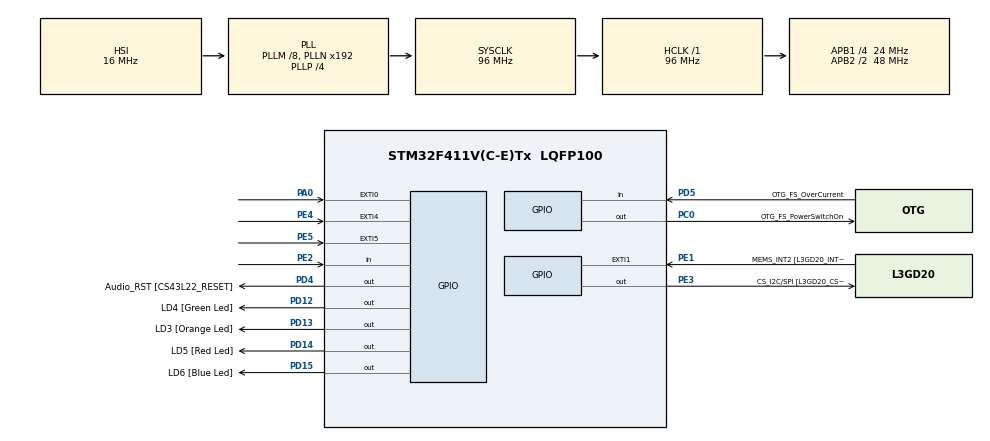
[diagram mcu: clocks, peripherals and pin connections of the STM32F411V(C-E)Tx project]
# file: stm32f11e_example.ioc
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FREERTOS.INCLUDE_vTaskDelayUntil=1
FREERTOS.Tasks01=defaultTask,0,128,StartDefaultTask,Default,NULL
Mcu.Family=STM32F4
Mcu.Name=STM32F411V(C-E)Tx
Mcu.Package=LQFP100
NVIC.PriorityGroup=NVIC_PRIORITYGROUP_4
NVIC.TIM1_UP_TIM10_IRQn=true\:0\:0\:false\:false\:true\:false\:false
NVIC.TimeBase=TIM1_UP_TIM10_IRQn
NVIC.TimeBaseIP=TIM1
PA0-WKUP.GPIO_ModeDefaultEXTI=GPIO_MODE_EVT_RISING
PA0-WKUP.Signal=GPXTI0
PA10.GPIO_Label=OTG_FS_ID
PA10.Signal=USB_OTG_FS_ID
PA11.GPIO_Label=OTG_FS_DM
PA11.Signal=USB_OTG_FS_DM
PA12.GPIO_Label=OTG_FS_DP
PA12.Signal=USB_OTG_FS_DP
PA13.GPIO_Label=SWDIO
PA13.Signal=SYS_JTMS-SWDIO
PA14.GPIO_Label=SWCLK
PA14.Signal=SYS_JTCK-SWCLK
PA4.GPIO_Label=I2S3_WS [CS43L22_LRCK]
PA4.GPIO_Mode=GPIO_MODE_AF_PP
PA4.GPIO_PuPd=GPIO_NOPULL
PA4.GPIO_Speed=GPIO_SPEED_FREQ_LOW
PA4.Signal=I2S3_WS
PA5.GPIO_Label=SPI1_SCK [L3GD20_SC/SPC]
PA5.Signal=SPI1_SCK
PA6.GPIO_Label=SPI1_MISO [L3GD20_AS0/SDO]
PA6.Signal=SPI1_MISO
PA7.GPIO_Label=SPI1_MOSI [L3GD20_SDA/SDI/SDO]
PA7.Signal=SPI1_MOSI
PA9.GPIO_Label=VBUS_FS
PA9.Signal=USB_OTG_FS_VBUS
PB10.GPIO_Label=CLK_IN [MP45DT02_CLK]
PB10.Signal=I2S2_CK
PB12.Signal=I2S2_WS
PB3.GPIO_Label=SWO
PB3.Signal=SYS_JTDO-SWO
PB6.GPIO_Label=Audio_SCL [CS43L22_SCL]
PB6.GPIO_Mode=GPIO_MODE_AF_OD
PB6.GPIO_PuPd=GPIO_NOPULL
PB6.GPIO_Speed=GPIO_SPEED_FREQ_LOW
PB6.Signal=I2C1_SCL
PB9.GPIO_Label=Audio_SDA [CS43L22_SDA]
PB9.GPIO_Mode=GPIO_MODE_AF_OD
PB9.GPIO_PuPd=GPIO_NOPULL
PB9.GPIO_Speed=GPIO_SPEED_FREQ_LOW
PB9.Signal=I2C1_SDA
PC0.GPIO_Label=OTG_FS_PowerSwitchOn
PC0.PinState=GPIO_PIN_SET
PC0.Signal=GPIO_Output
PC10.GPIO_Label=I2S3_SCK [CS43L22_SCLK]
PC10.GPIO_Mode=GPIO_MODE_AF_PP
PC10.GPIO_PuPd=GPIO_NOPULL
PC10.GPIO_Speed=GPIO_SPEED_FREQ_LOW
PC10.Signal=I2S3_CK
PC12.GPIO_Label=I2S3_SD [CS43L22_SDIN]
PC12.GPIO_Mode=GPIO_MODE_AF_PP
PC12.GPIO_PuPd=GPIO_NOPULL
PC12.GPIO_Speed=GPIO_SPEED_FREQ_LOW
PC12.Signal=I2S3_SD
PC14-OSC32_IN.GPIO_Label=PC14-OSC32_IN
PC14-OSC32_IN.Signal=RCC_OSC32_IN
PC15-OSC32_OUT.GPIO_Label=PC15-OSC32_OUT
PC15-OSC32_OUT.Signal=RCC_OSC32_OUT
PC3.GPIO_Label=PDM_OUT [MP45DT02_DOUT]
PC3.Signal=I2S2_SD
PC7.GPIO_Label=I2S3_MCK [CS43L22_MCLK]
PC7.GPIO_Mode=GPIO_MODE_AF_PP
PC7.GPIO_PuPd=GPIO_NOPULL
PC7.GPIO_Speed=GPIO_SPEED_FREQ_LOW
PC7.Signal=I2S3_MCK
PD12.GPIO_Label=LD4 [Green Led]
PD12.GPIO_PuPd=GPIO_NOPULL
PD12.GPIO_Speed=GPIO_SPEED_FREQ_LOW
PD12.Signal=GPIO_Output
PD13.GPIO_Label=LD3 [Orange Led]
PD13.GPIO_PuPd=GPIO_NOPULL
PD13.GPIO_Speed=GPIO_SPEED_FREQ_LOW
PD13.Signal=GPIO_Output
PD14.GPIO_Label=LD5 [Red Led]
PD14.GPIO_PuPd=GPIO_NOPULL
PD14.GPIO_Speed=GPIO_SPEED_FREQ_LOW
PD14.Signal=GPIO_Output
PD15.GPIO_Label=LD6 [Blue Led]
PD15.GPIO_PuPd=GPIO_NOPULL
PD15.GPIO_Speed=GPIO_SPEED_FREQ_LOW
PD15.Signal=GPIO_Output
PD4.GPIO_Label=Audio_RST [CS43L22_RESET]
PD4.Signal=GPIO_Output
PD5.GPIO_Label=OTG_FS_OverCurrent
PD5.Signal=GPIO_Input
PE1.GPIO_Label=MEMS_INT2 [L3GD20_INT2]
PE1.GPIO_ModeDefaultEXTI=GPIO_MODE_EVT_RISING
PE1.Signal=GPXTI1
PE2.Signal=GPIO_Input
PE3.GPIO_Label=CS_I2C/SPI [L3GD20_CS_I2C/SPI]
PE3.Signal=GPIO_Output
PE4.GPIO_ModeDefaultEXTI=GPIO_MODE_EVT_RISING
PE4.Signal=GPXTI4
PE5.GPIO_ModeDefaultEXTI=GPIO_MODE_EVT_RISING
PE5.Signal=GPXTI5
PH0\ -\ OSC_IN.GPIO_Label=PH0-OSC_IN
PH0\ -\ OSC_IN.Signal=RCC_OSC_IN
PH1\ -\ OSC_OUT.GPIO_Label=PH1-OSC_OUT
PH1\ -\ OSC_OUT.Signal=RCC_OSC_OUT
ProjectManager.HeapSize=0x200
ProjectManager.StackSize=0x400
ProjectManager.TargetToolchain=SW4STM32
RCC.48MHZClocksFreq_Value=48000000
RCC.AHBFreq_Value=96000000
RCC.APB1CLKDivider=RCC_HCLK_DIV4
RCC.APB1Freq_Value=24000000
RCC.APB1TimFreq_Value=48000000
RCC.APB2CLKDivider=RCC_HCLK_DIV2
RCC.APB2Freq_Value=48000000
RCC.APB2TimFreq_Value=96000000
RCC.CortexFreq_Value=96000000
RCC.HCLKFreq_Value=96000000
RCC.HSE_VALUE=8000000
RCC.HSI_VALUE=16000000
RCC.LSE_VALUE=32768
RCC.PLLI2SM=5
RCC.PLLI2SN=200
RCC.PLLM=8
RCC.PLLP=RCC_PLLP_DIV4
RCC.PLLQ=8
RCC.SYSCLKFreq_VALUE=96000000
RCC.SYSCLKSource=RCC_SYSCLKSOURCE_PLLCLK
RCC.VCOOutputFreq_Value=384000000
VP_FREERTOS_VS_ENABLE.Mode=Enabled
VP_SYS_VS_tim1.Mode=TIM1
board=STM32F411E-DISCO

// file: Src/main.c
/**
  ******************************************************************************
  * File Name          : main.c
  * Description        : Main program body
  ******************************************************************************
  * This notice applies to any and all portions of this file
  * that are not between comment pairs USER CODE BEGIN and
  * USER CODE END. Other portions of this file, whether
  * inserted by the user or by software development tools
  * are owned by their respective copyright owners.
  *
  * Copyright (c) 2018 STMicroelectronics International N.V.
  * All rights reserved.
  *
  * Redistribution and use in source and binary forms, with or without
  * modification, are permitted, provided that the following conditions are met:
  *
  * 1. Redistribution of source code must retain the above copyright notice,
  *    this list of conditions and the following disclaimer.
  * 2. Redistributions in binary form must reproduce the above copyright notice,
  *    this list of conditions and the following disclaimer in the documentation
  *    and/or other materials provided with the distribution.
  * 3. Neither the name of STMicroelectronics nor the names of other
  *    contributors to this software may be used to endorse or promote products
  *    derived from this software without specific written permission.
  * 4. This software, including modifications and/or derivative works of this
  *    software, must execute solely and exclusively on microcontroller or
  *    microprocessor devices manufactured by or for STMicroelectronics.
  * 5. Redistribution and use of this software other than as permitted under
  *    this license is void and will automatically terminate your rights under
  *    this license.
  *
  * THIS SOFTWARE IS PROVIDED BY STMICROELECTRONICS AND CONTRIBUTORS "AS IS"
  * AND ANY EXPRESS, IMPLIED OR STATUTORY WARRANTIES, INCLUDING, BUT NOT
  * LIMITED TO, THE IMPLIED WARRANTIES OF MERCHANTABILITY, FITNESS FOR A
  * PARTICULAR PURPOSE AND NON-INFRINGEMENT OF THIRD PARTY INTELLECTUAL PROPERTY
  * RIGHTS ARE DISCLAIMED TO THE FULLEST EXTENT PERMITTED BY LAW. IN NO EVENT
  * SHALL STMICROELECTRONICS OR CONTRIBUTORS BE LIABLE FOR ANY DIRECT, INDIRECT,
  * INCIDENTAL, SPECIAL, EXEMPLARY, OR CONSEQUENTIAL DAMAGES (INCLUDING, BUT NOT
  * LIMITED TO, PROCUREMENT OF SUBSTITUTE GOODS OR SERVICES; LOSS OF USE, DATA,
  * OR PROFITS; OR BUSINESS INTERRUPTION) HOWEVER CAUSED AND ON ANY THEORY OF
  * LIABILITY, WHETHER IN CONTRACT, STRICT LIABILITY, OR TORT (INCLUDING
  * NEGLIGENCE OR OTHERWISE) ARISING IN ANY WAY OUT OF THE USE OF THIS SOFTWARE,
  * EVEN IF ADVISED OF THE POSSIBILITY OF SUCH DAMAGE.
  *
  ******************************************************************************
  */

#include "main.h"
#include "stm32f4xx_hal.h"
#include "cmsis_os.h"

osThreadId defaultTaskHandle;

/* USER CODE BEGIN PV */
/* Private variables ---------------------------------------------------------*/
osThreadId blinkLightsTaskHandle;

/* USER CODE END PV */

void SystemClock_Config(void);
static void MX_GPIO_Init(void);
void StartDefaultTask(void const * argument);

/* USER CODE BEGIN PFP */
/* Private function prototypes -----------------------------------------------*/
void blinkLightsTask(void const* argument);

/* USER CODE END PFP */

int main(void)
{

  /* MCU Configuration----------------------------------------------------------*/

  /* Reset of all peripherals, Initializes the Flash interface and the Systick. */
  HAL_Init();

  /* Configure the system clock */
  SystemClock_Config();

  /* Initialize all configured peripherals */
  MX_GPIO_Init();

  /* Create the thread(s) */
  /* definition and creation of defaultTask */
  osThreadDef(defaultTask, StartDefaultTask, osPriorityNormal, 0, 128);
  defaultTaskHandle = osThreadCreate(osThread(defaultTask), NULL);

  /* USER CODE BEGIN RTOS_THREADS */
    osThreadDef(blinkLightsThread, blinkLightsTask, osPriorityNormal, 1, configMINIMAL_STACK_SIZE);
    blinkLightsTaskHandle = osThreadCreate(osThread(blinkLightsThread), NULL);
  /* USER CODE END RTOS_THREADS */

  /* Start scheduler */
  osKernelStart();

  /* We should never get here as control is now taken by the scheduler */

  /* Infinite loop */
    while (1)
    {

    }

}

/** System Clock Configuration
*/
void SystemClock_Config(void)
{

  RCC_OscInitTypeDef RCC_OscInitStruct;
  RCC_ClkInitTypeDef RCC_ClkInitStruct;

    /**Configure the main internal regulator output voltage
    */
  __HAL_RCC_PWR_CLK_ENABLE();

  __HAL_PWR_VOLTAGESCALING_CONFIG(PWR_REGULATOR_VOLTAGE_SCALE1);

    /**Initializes the CPU, AHB and APB busses clocks
    */
  RCC_OscInitStruct.OscillatorType = RCC_OSCILLATORTYPE_HSI;
  RCC_OscInitStruct.HSIState = RCC_HSI_ON;
  RCC_OscInitStruct.HSICalibrationValue = 16;
  RCC_OscInitStruct.PLL.PLLState = RCC_PLL_ON;
  RCC_OscInitStruct.PLL.PLLSource = RCC_PLLSOURCE_HSI;
  RCC_OscInitStruct.PLL.PLLM = 8;
  RCC_OscInitStruct.PLL.PLLN = 192;
  RCC_OscInitStruct.PLL.PLLP = RCC_PLLP_DIV4;
  RCC_OscInitStruct.PLL.PLLQ = 8;
  if (HAL_RCC_OscConfig(&RCC_OscInitStruct) != HAL_OK)
  {
    _Error_Handler(__FILE__, __LINE__);
  }

    /**Initializes the CPU, AHB and APB busses clocks
    */
  RCC_ClkInitStruct.ClockType = RCC_CLOCKTYPE_HCLK|RCC_CLOCKTYPE_SYSCLK
                              |RCC_CLOCKTYPE_PCLK1|RCC_CLOCKTYPE_PCLK2;
  RCC_ClkInitStruct.SYSCLKSource = RCC_SYSCLKSOURCE_PLLCLK;
  RCC_ClkInitStruct.AHBCLKDivider = RCC_SYSCLK_DIV1;
  RCC_ClkInitStruct.APB1CLKDivider = RCC_HCLK_DIV4;
  RCC_ClkInitStruct.APB2CLKDivider = RCC_HCLK_DIV2;

  if (HAL_RCC_ClockConfig(&RCC_ClkInitStruct, FLASH_LATENCY_3) != HAL_OK)
  {
    _Error_Handler(__FILE__, __LINE__);
  }

    /**Configure the Systick interrupt time
    */
  HAL_SYSTICK_Config(HAL_RCC_GetHCLKFreq()/1000);

    /**Configure the Systick
    */
  HAL_SYSTICK_CLKSourceConfig(SYSTICK_CLKSOURCE_HCLK);

  /* SysTick_IRQn interrupt configuration */
  HAL_NVIC_SetPriority(SysTick_IRQn, 15, 0);
}

/** Configure pins as
        * Analog
        * Input
        * Output
        * EVENT_OUT
        * EXTI
     PC3   ------> I2S2_SD
     PA4   ------> I2S3_WS
     PA5   ------> SPI1_SCK
     PA6   ------> SPI1_MISO
     PA7   ------> SPI1_MOSI
     PB10   ------> I2S2_CK
     PB12   ------> I2S2_WS
     PC7   ------> I2S3_MCK
     PA9   ------> USB_OTG_FS_VBUS
     PA10   ------> USB_OTG_FS_ID
     PA11   ------> USB_OTG_FS_DM
     PA12   ------> USB_OTG_FS_DP
     PC10   ------> I2S3_CK
     PC12   ------> I2S3_SD
     PB6   ------> I2C1_SCL
     PB9   ------> I2C1_SDA
*/
static void MX_GPIO_Init(void)
{

  GPIO_InitTypeDef GPIO_InitStruct;

  /* GPIO Ports Clock Enable */
  __HAL_RCC_GPIOE_CLK_ENABLE();
  __HAL_RCC_GPIOC_CLK_ENABLE();
  __HAL_RCC_GPIOH_CLK_ENABLE();
  __HAL_RCC_GPIOA_CLK_ENABLE();
  __HAL_RCC_GPIOB_CLK_ENABLE();
  __HAL_RCC_GPIOD_CLK_ENABLE();

  /*Configure GPIO pin Output Level */
  HAL_GPIO_WritePin(CS_I2C_SPI_GPIO_Port, CS_I2C_SPI_Pin, GPIO_PIN_RESET);

  /*Configure GPIO pin Output Level */
  HAL_GPIO_WritePin(OTG_FS_PowerSwitchOn_GPIO_Port, OTG_FS_PowerSwitchOn_Pin, GPIO_PIN_SET);

  /*Configure GPIO pin Output Level */
  HAL_GPIO_WritePin(GPIOD, LD4_Pin|LD3_Pin|LD5_Pin|LD6_Pin
                          |Audio_RST_Pin, GPIO_PIN_RESET);

  /*Configure GPIO pin : PE2 */
  GPIO_InitStruct.Pin = GPIO_PIN_2;
  GPIO_InitStruct.Mode = GPIO_MODE_INPUT;
  GPIO_InitStruct.Pull = GPIO_NOPULL;
  HAL_GPIO_Init(GPIOE, &GPIO_InitStruct);

  /*Configure GPIO pin : CS_I2C_SPI_Pin */
  GPIO_InitStruct.Pin = CS_I2C_SPI_Pin;
  GPIO_InitStruct.Mode = GPIO_MODE_OUTPUT_PP;
  GPIO_InitStruct.Pull = GPIO_NOPULL;
  GPIO_InitStruct.Speed = GPIO_SPEED_FREQ_LOW;
  HAL_GPIO_Init(CS_I2C_SPI_GPIO_Port, &GPIO_InitStruct);

  /*Configure GPIO pins : PE4 PE5 MEMS_INT2_Pin */
  GPIO_InitStruct.Pin = GPIO_PIN_4|GPIO_PIN_5|MEMS_INT2_Pin;
  GPIO_InitStruct.Mode = GPIO_MODE_EVT_RISING;
  GPIO_InitStruct.Pull = GPIO_NOPULL;
  HAL_GPIO_Init(GPIOE, &GPIO_InitStruct);

  /*Configure GPIO pin : OTG_FS_PowerSwitchOn_Pin */
  GPIO_InitStruct.Pin = OTG_FS_PowerSwitchOn_Pin;
  GPIO_InitStruct.Mode = GPIO_MODE_OUTPUT_PP;
  GPIO_InitStruct.Pull = GPIO_NOPULL;
  GPIO_InitStruct.Speed = GPIO_SPEED_FREQ_LOW;
  HAL_GPIO_Init(OTG_FS_PowerSwitchOn_GPIO_Port, &GPIO_InitStruct);

  /*Configure GPIO pin : PDM_OUT_Pin */
  GPIO_InitStruct.Pin = PDM_OUT_Pin;
  GPIO_InitStruct.Mode = GPIO_MODE_AF_PP;
  GPIO_InitStruct.Pull = GPIO_NOPULL;
  GPIO_InitStruct.Speed = GPIO_SPEED_FREQ_LOW;
  GPIO_InitStruct.Alternate = GPIO_AF5_SPI2;
  HAL_GPIO_Init(PDM_OUT_GPIO_Port, &GPIO_InitStruct);

  /*Configure GPIO pin : PA0 */
  GPIO_InitStruct.Pin = GPIO_PIN_0;
  GPIO_InitStruct.Mode = GPIO_MODE_EVT_RISING;
  GPIO_InitStruct.Pull = GPIO_NOPULL;
  HAL_GPIO_Init(GPIOA, &GPIO_InitStruct);

  /*Configure GPIO pin : I2S3_WS_Pin */
  GPIO_InitStruct.Pin = I2S3_WS_Pin;
  GPIO_InitStruct.Mode = GPIO_MODE_AF_PP;
  GPIO_InitStruct.Pull = GPIO_NOPULL;
  GPIO_InitStruct.Speed = GPIO_SPEED_FREQ_LOW;
  GPIO_InitStruct.Alternate = GPIO_AF6_SPI3;
  HAL_GPIO_Init(I2S3_WS_GPIO_Port, &GPIO_InitStruct);

  /*Configure GPIO pins : SPI1_SCK_Pin SPI1_MISO_Pin SPI1_MOSI_Pin */
  GPIO_InitStruct.Pin = SPI1_SCK_Pin|SPI1_MISO_Pin|SPI1_MOSI_Pin;
  GPIO_InitStruct.Mode = GPIO_MODE_AF_PP;
  GPIO_InitStruct.Pull = GPIO_NOPULL;
  GPIO_InitStruct.Speed = GPIO_SPEED_FREQ_VERY_HIGH;
  GPIO_InitStruct.Alternate = GPIO_AF5_SPI1;
  HAL_GPIO_Init(GPIOA, &GPIO_InitStruct);

  /*Configure GPIO pins : CLK_IN_Pin PB12 */
  GPIO_InitStruct.Pin = CLK_IN_Pin|GPIO_PIN_12;
  GPIO_InitStruct.Mode = GPIO_MODE_AF_PP;
  GPIO_InitStruct.Pull = GPIO_NOPULL;
  GPIO_InitStruct.Speed = GPIO_SPEED_FREQ_LOW;
  GPIO_InitStruct.Alternate = GPIO_AF5_SPI2;
  HAL_GPIO_Init(GPIOB, &GPIO_InitStruct);

  /*Configure GPIO pins : LD4_Pin LD3_Pin LD5_Pin LD6_Pin
                           Audio_RST_Pin */
  GPIO_InitStruct.Pin = LD4_Pin|LD3_Pin|LD5_Pin|LD6_Pin
                          |Audio_RST_Pin;
  GPIO_InitStruct.Mode = GPIO_MODE_OUTPUT_PP;
  GPIO_InitStruct.Pull = GPIO_NOPULL;
  GPIO_InitStruct.Speed = GPIO_SPEED_FREQ_LOW;
  HAL_GPIO_Init(GPIOD, &GPIO_InitStruct);

  /*Configure GPIO pins : I2S3_MCK_Pin I2S3_SCK_Pin I2S3_SD_Pin */
  GPIO_InitStruct.Pin = I2S3_MCK_Pin|I2S3_SCK_Pin|I2S3_SD_Pin;
  GPIO_InitStruct.Mode = GPIO_MODE_AF_PP;
  GPIO_InitStruct.Pull = GPIO_NOPULL;
  GPIO_InitStruct.Speed = GPIO_SPEED_FREQ_LOW;
  GPIO_InitStruct.Alternate = GPIO_AF6_SPI3;
  HAL_GPIO_Init(GPIOC, &GPIO_InitStruct);

  /*Configure GPIO pin : VBUS_FS_Pin */
  GPIO_InitStruct.Pin = VBUS_FS_Pin;
  GPIO_InitStruct.Mode = GPIO_MODE_INPUT;
  GPIO_InitStruct.Pull = GPIO_NOPULL;
  HAL_GPIO_Init(VBUS_FS_GPIO_Port, &GPIO_InitStruct);

  /*Configure GPIO pins : OTG_FS_ID_Pin OTG_FS_DM_Pin OTG_FS_DP_Pin */
  GPIO_InitStruct.Pin = OTG_FS_ID_Pin|OTG_FS_DM_Pin|OTG_FS_DP_Pin;
  GPIO_InitStruct.Mode = GPIO_MODE_AF_PP;
  GPIO_InitStruct.Pull = GPIO_NOPULL;
  GPIO_InitStruct.Speed = GPIO_SPEED_FREQ_VERY_HIGH;
  GPIO_InitStruct.Alternate = GPIO_AF10_OTG_FS;
  HAL_GPIO_Init(GPIOA, &GPIO_InitStruct);

  /*Configure GPIO pin : OTG_FS_OverCurrent_Pin */
  GPIO_InitStruct.Pin = OTG_FS_OverCurrent_Pin;
  GPIO_InitStruct.Mode = GPIO_MODE_INPUT;
  GPIO_InitStruct.Pull = GPIO_NOPULL;
  HAL_GPIO_Init(OTG_FS_OverCurrent_GPIO_Port, &GPIO_InitStruct);

  /*Configure GPIO pins : Audio_SCL_Pin Audio_SDA_Pin */
  GPIO_InitStruct.Pin = Audio_SCL_Pin|Audio_SDA_Pin;
  GPIO_InitStruct.Mode = GPIO_MODE_AF_OD;
  GPIO_InitStruct.Pull = GPIO_PULLUP;
  GPIO_InitStruct.Speed = GPIO_SPEED_FREQ_LOW;
  GPIO_InitStruct.Alternate = GPIO_AF4_I2C1;
  HAL_GPIO_Init(GPIOB, &GPIO_InitStruct);

}

/* USER CODE BEGIN 4 */
void blinkLightsTask(void const* argument)
{
    uint32_t prevWakeTime = osKernelSysTick();
    uint16_t counter = 0;

    for (;;)
    {
        osDelayUntil(&prevWakeTime, 250);

        switch (counter)
        {
            case 0:
                HAL_GPIO_TogglePin(LD3_GPIO_Port, LD3_Pin);
                counter = 1;
                break;

            case 1:
                HAL_GPIO_TogglePin(LD4_GPIO_Port, LD4_Pin);
                counter = 2;
                break;

            case 2:
                HAL_GPIO_TogglePin(LD5_GPIO_Port, LD5_Pin);
                counter = 3;
                break;

            case 3:
                counter = 0;
                HAL_GPIO_TogglePin(LD6_GPIO_Port, LD6_Pin);
                break;
        }
    }
}

/* USER CODE END 4 */

/* StartDefaultTask function */
void StartDefaultTask(void const * argument)
{

    for (;;)
    {
        osDelay(1);
    }
}

void HAL_TIM_PeriodElapsedCallback(TIM_HandleTypeDef *htim)
{
  if (htim->Instance == TIM1) {
    HAL_IncTick();
  }
}

void _Error_Handler(char * file, int line)
{
    while (1)
    {
    }
}

/************************ (C) COPYRIGHT STMicroelectronics *****END OF FILE****/
